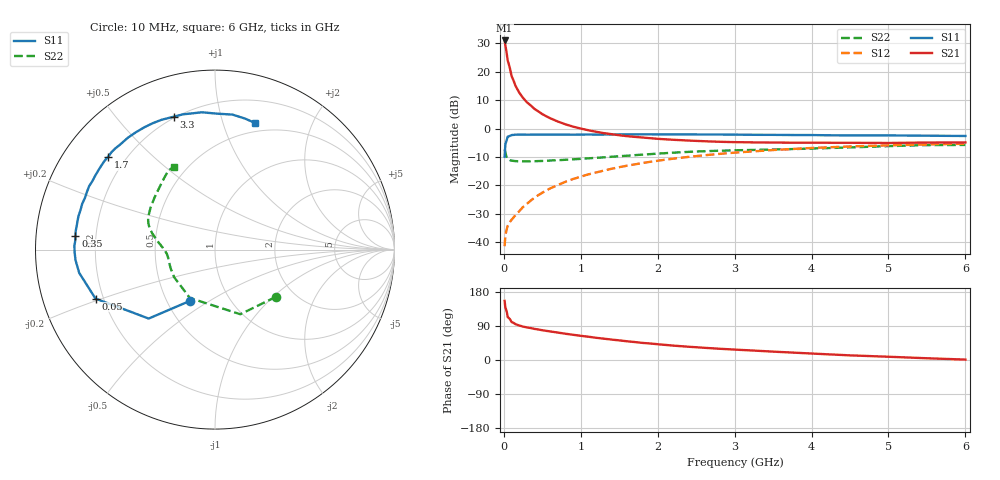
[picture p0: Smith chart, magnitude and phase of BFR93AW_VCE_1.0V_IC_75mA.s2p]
! (c) 2017  Infineon Technologies AG, Munich
! Infineon Technologies  Discrete & RF Semiconductors
! BFR93AW
! VCE =  1.0 V,  IC =  75 mA
! Common Emitter S-Parameters:  Jan 2017
# GHz  S  MA  R  50
!  f  S11  S21  S12  S22
! GHz  MAG  ANG  MAG  ANG  MAG  ANG  MAG  ANG
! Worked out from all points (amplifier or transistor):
!   77 points, 10 MHz to 6 GHz, reference 50 ohm
!   highest |S21| = 30.9 dB at 10 MHz (marker M1)
!   |S21| within 3 dB of that: start of sweep to 28.36 MHz
!   unconditionally stable (mu >= 1): start of sweep to 14.64 MHz; 91.65 MHz to end of sweep
!   at 130 MHz: K = 1.16, MAG = 21.4 dB, |S12| = -31.1 dB
!   at 2.2 GHz: K = 1.23, MAG = 0.4 dB, |S12| = -10.6 dB
!   at 6 GHz: K = 1.07, MAG = -1.4 dB, |S12| = -5.4 dB
!   S11 on the Smith chart (normalised r, x): 10 MHz: 0.65, -0.41; 50 MHz: 0.17, -0.19; 350 MHz: 0.12, +0.05; 1.7 GHz: 0.13, +0.37; 3.3 GHz: 0.19, +0.72; 6 GHz: 0.41, +1.28
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0.01  0.3199 -116.3  35.2 156.0  0.0086 52.8  0.4297 -37.7
0.02  0.5332 -133.9  29.03 138.2  0.0134 48.5  0.3869 -68.6
0.04  0.6463 -151.3  19.64 125.2  0.0175 42.0  0.3033 -98.8
0.05  0.7195 -157.7  15.67 113.1  0.0196 39.8  0.3038 -117.5
0.1  0.7678 -170.3  8.383 100.2  0.025 45.3  0.2747 -146.0
0.15  0.7793 -175.7  5.672 94.7  0.0299 52.0  0.2682 -157.1
0.2  0.7824 -179.0  4.282 91.0  0.0353 58.4  0.2656 -162.8
0.25  0.7837 178.4  3.445 88.1  0.042 60.0  0.2646 -166.7
0.3  0.7801 176.3  2.886 86.0  0.0476 63.1  0.2645 -169.3
0.35  0.7811 174.4  2.542 84.3  0.0544 65.0  0.2656 -171.0
0.4  0.7829 172.5  2.201 82.0  0.0613 66.5  0.2669 -172.7
0.5  0.7819 169.3  1.788 78.6  0.0746 67.5  0.2696 -175.1
0.6  0.7833 166.3  1.521 75.4  0.0885 68.1  0.2744 -177.0
0.8  0.7825 160.9  1.188 69.3  0.116 68.3  0.2829 -179.9
1.1  0.7854 153.3  0.932 61.4  0.1569 65.9  0.2999 176.2
1.7  0.7887 139.0  0.714 47.4  0.2347 59.0  0.3408 168.7
2.1  0.7888 130.1  0.647 39.8  0.2837 53.4  0.3696 164.0
3.1  0.7792 110.7  0.575 26.4  0.3853 39.7  0.4172 152.2
3.3  0.7753 107.1  0.57 24.3  0.4021 37.0  0.4225 149.5
4.1  0.7653 94.1  0.563 16.1  0.4613 26.8  0.4488 137.4
5.1  0.756 81.5  0.56 7.8  0.5104 15.4  0.4951 124.0
6  0.7402 72.5  0.571 1.1  0.54 6.3  0.5157 116.4
